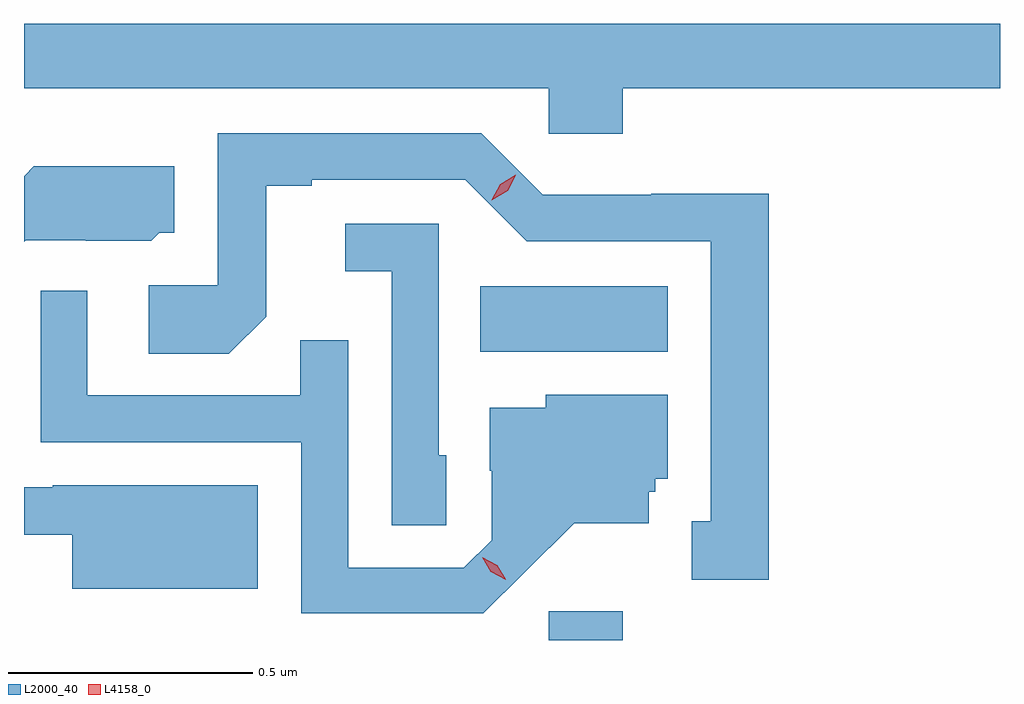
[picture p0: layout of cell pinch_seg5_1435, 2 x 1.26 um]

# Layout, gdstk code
import gdstk
lib = gdstk.Library(unit=1e-6, precision=1e-09)
def R(c, l, rs):  # rectangles x0, y0, x1, y1
    for r in rs: c.add(gdstk.rectangle(r[:2], r[2:], *l))
def P(c, l, *ps):  # polygons
    for p in ps: c.add(gdstk.Polygon(p, *l))
L2000_40 = (2000, 40)
L4158_0 = (4158, 0)

pinch_seg5_1435 = lib.new_cell('pinch_seg5_1435')
R(pinch_seg5_1435, L2000_40, [(167.922,914.237,168.074,914.296), (167.782,914.828,168.166,914.962)])
P(pinch_seg5_1435, L2000_40, [(168.074,915.368),(168.847,915.368),(168.847,915.5),(166.847,915.5),(166.847,915.368),(167.922,915.368),(167.922,915.275),(168.074,915.275)],
  [(168.373,915.152),(168.132,915.152),(168.132,915.15),(167.91,915.15),(167.784,915.276),(167.244,915.276),(167.244,914.964),(167.103,914.964),(167.103,914.824),(167.267,914.824),(167.343,914.9),(167.343,915.168),(167.437,915.168),(167.437,915.18),(167.751,915.18),(167.877,915.054),(168.254,915.054),(168.254,914.481),(168.215,914.481),(168.215,914.361),(168.373,914.361)],
  [(166.851,915.057),(166.974,915.057),(166.974,915.056),(167.108,915.056),(167.124,915.072),(167.155,915.072),(167.155,915.208),(166.867,915.208),(166.847,915.188),(166.847,915.053)],
  [(167.712,914.616),(167.697,914.616),(167.697,915.09),(167.505,915.09),(167.505,914.993),(167.601,914.993),(167.601,914.473),(167.712,914.473)],
  [(167.872,914.375),(167.975,914.477),(168.127,914.477),(168.127,914.541),(168.141,914.541),(168.141,914.568),(168.166,914.568),(168.166,914.74),(167.916,914.74),(167.916,914.713),(167.801,914.713),(167.801,914.584),(167.805,914.584),(167.805,914.442),(167.748,914.385),(167.511,914.385),(167.511,914.852),(167.413,914.852),(167.413,914.739),(166.977,914.739),(166.977,914.953),(166.881,914.953),(166.881,914.643),(167.415,914.643),(167.415,914.292),(167.788,914.292)],
  [(167.326,914.554),(166.906,914.554),(166.906,914.55),(166.847,914.55),(166.847,914.453),(166.946,914.453),(166.946,914.342),(167.326,914.342)])
P(pinch_seg5_1435, L4158_0, [(167.806,915.138),(167.806,915.139),(167.823,915.171),(167.855,915.191),(167.855,915.191),(167.855,915.19),(167.838,915.158),(167.806,915.138)],
  [(167.834,914.361),(167.803,914.377),(167.786,914.407),(167.786,914.407),(167.786,914.407),(167.817,914.391),(167.834,914.362),(167.834,914.361)])

lib.write_gds('pinch_seg5_1435.gds')
